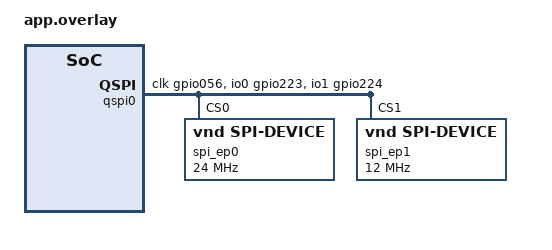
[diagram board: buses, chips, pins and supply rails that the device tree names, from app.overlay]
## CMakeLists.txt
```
# Copyright (c) 2025 Microchip Technology Inc.
#
# SPDX-License-Identifier: Apache-2.0
#
cmake_minimum_required(VERSION 3.20.0)

find_package(Zephyr REQUIRED HINTS $ENV{ZEPHYR_BASE})
project(mec_assy6941_qmspi_ldma)

FILE(GLOB app_sources src/*.c)
target_sources(app PRIVATE ${app_sources})
```

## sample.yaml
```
sample:
  description: mec_assy6941 QMSPI-LDMA testing
  name: mec_assy6941_qmspi_ldma test
tests:
  sample.board.mec_assy6941.qmspi_ldma:
    harness: spi
    platform_allow:
      - mec_assy6941/mec1743_qlj
      - mec_assy6941/mec1743_qsz
      - mec_assy6941/mec1753_qlj
      - mec_assy6941/mec1753_qsz
    tags: spi
    depends_on:
      - spi
      - gpio
```

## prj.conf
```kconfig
# Enable config log
CONFIG_LOG=y
CONFIG_LOG_BACKEND_UART=y

CONFIG_CONSOLE=y
CONFIG_UART_CONSOLE=y

CONFIG_SPI=y

CONFIG_PM=n
CONFIG_DEBUG=y
```

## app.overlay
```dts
/*
 * Copyright (c) 2025 Microchip Technology Inc.
 *
 * SPDX-License-Identifier: Apache-2.0
 */

#include <zephyr/dt-bindings/gpio/microchip-xec-gpio.h>

/ {
	zephyr,user {
		shd-spi-other-gpios = <MCHP_GPIO_DECODE_227 GPIO_ACTIVE_HIGH>,
				      <MCHP_GPIO_DECODE_016 GPIO_ACTIVE_HIGH>;
	};
};

/* The QSPI controller support 2 HW controlled chip selects.
 * DT parameters are:
 * 1. spi-cs-setup-delay-ns = delay after CS assertion to first clock (nanoseconds)
 * 2. spi-cs-hold-delay-ns = delay after last clock edge to CS de-assertion (nanoseconds)
 */
/*
&qspi0 {
	compatible = "microchip,mec5-qspi";
	status = "okay";

	pinctrl-0 = <&qspi_shd_cs0_n_gpio055
		     &qspi_shd_clk_gpio056
		     &qspi_shd_io0_gpio223
		     &qspi_shd_io1_gpio224>;
	pinctrl-names = "default";

	spi_ep0: spi_ep@0 {
		reg = <0>;
		spi-cs-setup-delay-ns = <80>;
		spi-cs-hold-delay-ns = <80>;
	};

	spi_ep1: spi_ep@1 {
		reg = <1>;
		spi-cs-setup-delay-ns = <160>;
		spi-cs-hold-delay-ns = <160>;
	};

	status = "okay";
};
*/

/* Use GPIO chip selects
 * delay in microseconds between:
 * 1. chip select assertion and first clock
 * 2. last clock edge and chip select de-assertion
 * DT macro SPI_CONTEXT_CS_GPIOS_INITIALIZE in spi_context.h detects cs-gpios property
 * exists  and fills in struct spi_context member cs (struct spi_cs_control) gpio which
 * is a struct gpio_dt_spec. This macro does not fill in the delay member.
 */
&qspi0 {
	compatible = "microchip,mec5-qspi";
	status = "okay";

	pinctrl-0 = <&qspi_shd_clk_gpio056
		     &qspi_shd_io0_gpio223
		     &qspi_shd_io1_gpio224>;
	pinctrl-names = "default";

	cs-gpios = <MCHP_GPIO_DECODE_055 GPIO_ACTIVE_LOW>,
		   <MCHP_GPIO_DECODE_002 GPIO_ACTIVE_LOW>;

	spi_ep0: spi_ep@0 {
		compatible = "vnd,spi-device";
		reg = <0>;
		spi-max-frequency = <DT_FREQ_M(24)>;
		spi-cs-setup-delay-ns = <1000>;
		spi-cs-hold-delay-ns = <1000>;
		status = "okay";
	};

	spi_ep1: spi_ep@1 {
		compatible = "vnd,spi-device";
		reg = <1>;
		spi-max-frequency = <DT_FREQ_M(12)>;
		spi-cs-setup-delay-ns = <2000>;
		spi-cs-hold-delay-ns = <2000>;
		status = "okay";
	};

	status = "okay";
};
```

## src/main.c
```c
/*
 * Copyright (c) 2025 Microchip Technology Inc.
 *
 * SPDX-License-Identifier: Apache-2.0
 */

#include <soc.h>
#include <stdio.h>
#include <string.h>
#include <zephyr/kernel.h>
#include <zephyr/device.h>
#include <zephyr/devicetree.h>
#include <zephyr/drivers/gpio.h>
#include <zephyr/drivers/spi.h>
#include <zephyr/logging/log_ctrl.h>
#include <zephyr/logging/log.h>
LOG_MODULE_REGISTER(app, CONFIG_LOG_DEFAULT_LEVEL);

#define W25Q128_JEDEC_ID				0x001840efU
#define W25Q128JV_JEDEC_ID				0x001870efU
#define SST26VF016B_JEDEC_ID				0x004126bfU
#define SPI_FLASH_JEDEC_ID_MSK				0x00ffffffu

#define SPI_FLASH_READ_JEDEC_ID_OPCODE			0x9fu

#define SPI_FLASH_READ_STATUS1_OPCODE			0x05u
#define SPI_FLASH_READ_STATUS2_OPCODE			0x35u
#define SPI_FLASH_READ_STATUS3_OPCODE			0x15u

#define SPI_FLASH_WRITE_STATUS1_OPCODE			0x01u
#define SPI_FLASH_WRITE_STATUS2_OPCODE			0x31u
#define SPI_FLASH_WRITE_STATUS3_OPCODE			0x11u

#define SPI_FLASH_WRITE_ENABLE_OPCODE			0x06u
#define SPI_FLASH_WRITE_DISABLE_OPCODE			0x04u
#define SPI_FLASH_WRITE_ENABLE_VOLATILE_STS_OPCODE	0x50u

#define SPI_FLASH_READ_SFDP_CMD				0x5au

#define SPI_FLASH_READ_SLOW_OPCODE			0x03u
#define SPI_FLASH_READ_FAST_OPCODE			0x0bu
#define SPI_FLASH_READ_DUAL_OPCODE			0x3bu
#define SPI_FLASH_READ_QUAD_OPCODE			0x6bu

#define SPI_FLASH_ERASE_SECTOR_OPCODE			0x20u
#define SPI_FLASH_ERASE_BLOCK1_OPCODE			0x52u
#define SPI_FLASH_ERASE_BLOCK2_OPCODE			0xd8u
#define SPI_FLASH_ERASE_CHIP_OPCODE			0xc7u

#define SPI_FLASH_PAGE_PROG_OPCODE			0x02u

#define SPI_FLASH_PAGE_SIZE				256
#define SPI_FLASH_SECTOR_SIZE				4096
#define SPI_FLASH_BLOCK1_SIZE				(32 * 1024)
#define SPI_FLASH_BLOCK2_SIZE				(64 * 1024)

#define SPI_FLASH_STATUS1_BUSY_POS			0
#define SPI_FLASH_STATUS1_WEL_POS			1

#define SPI_FLASH_STATUS2_SRL_POS			0
#define SPI_FLASH_STATUS2_QE_POS			1
#define SPI_FLASH_STATUS2_SUS_STS_POS			7

#define SPI_CTRL0_NODE					DT_NODELABEL(qspi0)
#define ZEPHYR_USER_NODE				DT_PATH(zephyr_user)

struct spi_address {
	uint32_t addr;
	uint8_t byte_len;
};

enum spi_flash_read_cmd {
	CMD_SPI_FLASH_READ_SLOW = 0,
	CMD_SPI_FLASH_READ_FAST,
	CMD_SPI_FLASH_READ_DUAL,
	CMD_SPI_FLASH_READ_QUAD,
	CMD_SPI_FLASH_READ_MAX
};

const struct gpio_dt_spec qspi_shd_nwp_dt =
	GPIO_DT_SPEC_GET_BY_IDX(ZEPHYR_USER_NODE, shd_spi_other_gpios, 0);

const struct gpio_dt_spec qspi_shd_nhold_dt =
	GPIO_DT_SPEC_GET_BY_IDX(ZEPHYR_USER_NODE, shd_spi_other_gpios, 1);

static const struct device *spi_ctrl_dev = DEVICE_DT_GET(SPI_CTRL0_NODE);

/* SPI endpoint devices on SPI_CTRL0_NODE */
#define SPI_CTRL_MODE (SPI_OP_MODE_MASTER | SPI_WORD_SET(8))

#define SPI_EP_M1(node_id) \
	SPI_DT_SPEC_GET(node_id, SPI_CTRL_MODE)

static const struct spi_dt_spec spi_ep_dt_specs[] = {
	DT_FOREACH_CHILD_STATUS_OKAY_SEP(SPI_CTRL0_NODE, SPI_EP_M1, (,))
};

#define SPI_TEST_BUF1_SIZE 256

static uint8_t buf1[SPI_TEST_BUF1_SIZE];

#define SPI_TEST_ADDR1 0xc10000u

#define SPI_FILL_VAL 0x69u
#define SPI_TEST_BUFFER_SIZE (36 * 1024)

struct test_buf {
	union {
		uint32_t w[(SPI_TEST_BUFFER_SIZE) / 4];
		uint16_t h[(SPI_TEST_BUFFER_SIZE) / 2];
		uint8_t b[(SPI_TEST_BUFFER_SIZE)];
	};
};

static struct test_buf tb1;

static void pr_spi_dt_spec(const struct spi_dt_spec *dts)
{
	uint32_t temp = 0;

	LOG_INF("struct spi_dt_spec pointer = %p", dts);

	if (dts == NULL) {
		LOG_ERR("struct spi_dt_spec pointer is NULL");
	}

	LOG_INF(".bus = %p", dts->bus);
	LOG_INF(".config is struct spi_config");
	LOG_INF("  .frequency = %u", dts->config.frequency);
	LOG_INF("  .operation = 0x%0x", dts->config.operation);
	if ((dts->config.operation & SPI_OP_MODE_SLAVE) == 0) {
		LOG_INF("    Controller is Host");
	} else {
		LOG_INF("    Controller is Target");
	}
	if ((dts->config.operation & SPI_MODE_CPOL) == 0) {
		LOG_INF("    Clock idle is Low");
	} else {
		LOG_INF("    Clock idle is High");
	}
	if ((dts->config.operation & SPI_MODE_CPHA) == 0) {
		LOG_INF("    Data captured on clock idle to active edge");
	} else {
		LOG_INF("    Data captured on clock active to idle edge");
	}
	if ((dts->config.operation & SPI_MODE_LOOP) != 0) {
		LOG_ERR("    SPI_MODE_LOOP flag is set. HW does not support this!");
	}
	if ((dts->config.operation & SPI_TRANSFER_LSB) == 0) {
		LOG_INF("    Request bit order is MSB");
	} else {
		LOG_ERR("    Request bit order is LSB. HW does not support LSB!");
	}

	temp = SPI_WORD_SIZE_GET(dts->config.operation);
	LOG_INF("    Word size = %u bits", temp);
	if (temp != 8u) {
		LOG_ERR("    Requested word size not allowed. HW supports byte (8-bit) only");
	}

	if ((dts->config.operation & SPI_HOLD_ON_CS) != 0) {
		LOG_INF("    Request hold CS active at end of transfer");
	}

	if ((dts->config.operation & SPI_LOCK_ON) != 0) {
		LOG_INF("    App requests driver lock SPI until app releases it");
	}

	if ((dts->config.operation & SPI_CS_ACTIVE_HIGH) != 0) {
		LOG_INF("    Request CS active High. Not support by Controller HW. Must use GPIO for CS!");
	}

	LOG_INF("  .cs.cs_is_gpio = %u", dts->config.cs.cs_is_gpio);
	if (dts->config.cs.cs_is_gpio == true) {
		LOG_INF("    .gpio.port = %p", dts->config.cs.gpio.port);
		LOG_INF("    .gpio.pin = %u", dts->config.cs.gpio.pin);
		LOG_INF("    .gpio.dt_flags = %u", dts->config.cs.gpio.dt_flags);
		LOG_INF("    .delay = %u", dts->config.cs.delay);
	} else {
		LOG_INF("    .setup_ns = %u", dts->config.cs.setup_ns);
		LOG_INF("    .hold_ns  = %u", dts->config.cs.setup_ns);
	}
	LOG_INF("  word_delay = %u", dts->config.word_delay);
}

static bool is_data_buf_filled_with(uint8_t *data, size_t datasz, uint8_t val)
{
	if (!data || !datasz) {
		return false;
	}

	for (size_t i = 0; i < datasz; i++) {
		if (data[i] != val) {
			return false;
		}
	}

	return true;
}

static int spi_flash_format_addr(uint32_t spi_addr, size_t addrsz, uint8_t *buf, size_t bufsz)
{
	if (!buf || (addrsz > 4) || (bufsz < addrsz)) {
		return -EINVAL;
	}

	for (size_t i = 0; i < addrsz; i++) {
		buf[i] = spi_addr >> ((addrsz - i - 1u) * 8);
	}

	return 0;
}

static int spi_flash_read_status(const struct spi_dt_spec *dts, uint8_t read_status_opcode,
                                 uint8_t *status)
{
	struct spi_buf spi_buffers[2];
	uint32_t cmdbuf;
	int err;

	if (!dts || !status) {
		return -EINVAL;
	}

	cmdbuf = read_status_opcode;
	spi_buffers[0].buf = &cmdbuf;
	spi_buffers[0].len = 1;
	spi_buffers[1].buf = status;
	spi_buffers[1].len = 1;

	const struct spi_buf_set tx_bufs = {
		.buffers = spi_buffers,
		.count = 2,
	};

	const struct spi_buf_set rx_bufs = {
		.buffers = spi_buffers,
		.count = 2,
	};

	err = spi_transceive_dt(dts, &tx_bufs, &rx_bufs);

	return err;
}

static int spi_poll_busy(const struct spi_dt_spec *dts, uint32_t timeout_ms)
{
	int err = 0;
	uint32_t ms = 0;
	uint8_t spi_status = 0;

	if (dts == NULL) {
		return -EINVAL;
	}

	spi_status = 0xffu;
	while (timeout_ms) {
		k_busy_wait(2);
		ms += 2u;
		spi_status = 0xffu;
		err = spi_flash_read_status(dts, SPI_FLASH_READ_STATUS1_OPCODE, &spi_status);
		if (err) {
			return err;
		}

		if ((spi_status & BIT(SPI_FLASH_STATUS1_BUSY_POS)) == 0) {
			return 0;
		}
		if (ms > 1000) {
			timeout_ms--;
		}
	}

	return -ETIMEDOUT;
}

/* SPI flash full-duplex write of command opcode, optional command parameters, and optional data */
static int spi_flash_fd_wr_cpd(const struct spi_dt_spec *dts, uint8_t cmd, uint8_t *cmdparams,
                               size_t cmdparamsz, uint8_t *data, size_t datasz)
{
	struct spi_buf tx_spi_buffers[3];
	int bufidx = 0, err = 0;
	uint8_t spicmd;

	if ((dts == NULL) || ((cmdparams == NULL) && (cmdparamsz != 0)) ||
	    ((data == NULL) && (datasz != 0))) {
		return -EINVAL;
	}

	spicmd = cmd;
	tx_spi_buffers[bufidx].buf = &spicmd;
	tx_spi_buffers[bufidx++].len = 1;
	if (cmdparams && cmdparamsz) {
		tx_spi_buffers[bufidx].buf = cmdparams;
		tx_spi_buffers[bufidx++].len = cmdparamsz;
	}

	if (data && datasz) {
		tx_spi_buffers[bufidx].buf = data;
		tx_spi_buffers[bufidx++].len = datasz;
	}

	const struct spi_buf_set tx_bufs = {
		.buffers = tx_spi_buffers,
		.count = bufidx,
	};

	err = spi_transceive_dt(dts, &tx_bufs, NULL);

	return err;
}

static int spi_flash_read_fd_sync(const struct spi_dt_spec *dts, struct spi_address *spi_addr,
				  uint8_t *data, size_t datasz, uint8_t opcode)
{
	uint8_t txdata[8] = {0};
	struct spi_buf spi_bufs[3] = {0};
	int cnt = 0, err = 0;
	size_t param_len = 0;

	if (!dts || !data || !datasz) {
		return -EINVAL;
	}

	txdata[0] = opcode;
	if (spi_addr != 0) {
		if (spi_addr->byte_len > 4) {
			return -EINVAL;
		}
		err = spi_flash_format_addr(spi_addr->addr, spi_addr->byte_len,
					    &txdata[1], sizeof(txdata)-1);
		if (err) {
			return err;
		}
		param_len += spi_addr->byte_len;
	}

	spi_bufs[cnt].buf = txdata;
	spi_bufs[cnt++].len = param_len + 1;

	if (opcode == SPI_FLASH_READ_FAST_OPCODE) {
		spi_bufs[cnt].buf = NULL; /* 8 clocks with output tri-stated */
		spi_bufs[cnt++].len = 1;
	}

	spi_bufs[cnt].buf = data;
	spi_bufs[cnt++].len = datasz;

	const struct spi_buf_set txset = {
		.buffers = &spi_bufs[0],
		.count = cnt,
	};
	const struct spi_buf_set rxset = {
		.buffers = &spi_bufs[0],
		.count = cnt,
	};

	err = spi_transceive_dt(dts, &txset, &rxset);
	if (err) {
		return err;
	}

	return 0;
}

static int spi_flash_erase_region(const struct spi_dt_spec *dts, uint8_t erase_opcode,
                                  struct spi_address *spi_addr, int timeout_ms)
{
	int err = 0;
	uint8_t cmdparams[4] = {0};

	if ((dts == NULL) || (spi_addr == NULL)) {
		return -EINVAL;
	}

	err = spi_flash_format_addr(spi_addr->addr, spi_addr->byte_len,
				    cmdparams, sizeof(cmdparams));
	if (err) {
		return err;
	}

	err = spi_flash_fd_wr_cpd(dts, erase_opcode, cmdparams,
				  spi_addr->byte_len, NULL, 0);
	if (err) {
		return err;
	}

	err = spi_poll_busy(dts, timeout_ms);

	return err;
}

static int read_jedec_id(const struct spi_dt_spec *dts, uint32_t *jid)
{
	int err = 0, ret = 0;
	uint32_t val = 0;

	if ((dts == NULL) || (jid == NULL)) {
		return -EINVAL;
	}

	val = 0;
	err = spi_flash_read_fd_sync(dts, NULL, (uint8_t *)&val, 3u,
				     SPI_FLASH_READ_JEDEC_ID_OPCODE);
	if (err != 0) {
		LOG_ERR("Read JEDEC_ID error (%d)", err);
		return err;
	}

	if (jid != NULL) {
		*jid = val;
	}

	LOG_INF("JEDEC ID = 0x%08x", val);

	if (val == W25Q128_JEDEC_ID) {
		LOG_INF("W25Q128 16Mbyte SPI flash");
	} else if (val == W25Q128JV_JEDEC_ID) {
		LOG_INF("W25Q128JV 16Mbyte SPI flash");
	} else if (val == SST26VF016B_JEDEC_ID) {
		LOG_INF("SST26VF016B 16MByte SPI flash");
	} else {
		LOG_INF("Unknown SPI flash device");
		ret = -ENODEV;
	}

	return ret;
}

int main(void)
{
	int err, num_sectors, num_pages, offset;
	uint32_t jedec_id, qe_bm;
	size_t n, spi_len;
	struct spi_address spi_addr;
	uint8_t spi_status1, spi_status2;

	memset(buf1, 0, sizeof(buf1));
	memset((void *)&tb1, 0x55, sizeof(tb1));

	LOG_INF("Size of struct spi_config is %u bytes", sizeof(struct spi_config));

	if (device_is_ready(spi_ctrl_dev) == false) {
		LOG_ERR("SPI Controller driver is not ready!\n");
		return -1;
	}

	err = gpio_pin_configure_dt(&qspi_shd_nwp_dt, GPIO_OUTPUT_HIGH);
	if (err != 0) {
		LOG_ERR("Configure QSPI nWP pin GPIO output drive high error (%d)", err);
		return -2;
	}

	err = gpio_pin_configure_dt(&qspi_shd_nhold_dt, GPIO_OUTPUT_HIGH);
	if (err != 0) {
		LOG_ERR("Configure QSPI nHOLD pin GPIO output drive high error (%d)", err);
		return -3;
	}

	qe_bm = 0;
	for (n = 0; n < ARRAY_SIZE(spi_ep_dt_specs); n++) {
		const struct spi_dt_spec *pdts = &spi_ep_dt_specs[n];

		pr_spi_dt_spec(pdts);

		LOG_INF("Read JEDEC ID, STATUS1, and STATUS2 from SPI endpoint %u", n);

		log_flush();

		jedec_id = 0x55555555u;
		err = read_jedec_id(pdts, &jedec_id);
		if (err != 0) {
			LOG_ERR("JEDEC ID read error (%d)", err);
		}

		log_flush();

		spi_status1 = 0xffu;
		err = spi_flash_read_status(pdts, SPI_FLASH_READ_STATUS1_OPCODE, &spi_status1);
		if (err != 0) {
			LOG_ERR("Read SPI flash Status1 error (%d)", err);
		}

		LOG_INF("SPI Flash Status1 = 0x%02x", spi_status1);

		spi_status2 = 0xffu;
		err = spi_flash_read_status(pdts, SPI_FLASH_READ_STATUS2_OPCODE, &spi_status2);
		if (err != 0) {
			LOG_ERR("Read SPI flash STATUS2 error (%d)", err);
		}

		LOG_INF("SPI Flash Status2 = 0x%02x", spi_status2);
		if ((spi_status2 & BIT(SPI_FLASH_STATUS2_QE_POS)) != 0) {
			qe_bm |= BIT(n);
			LOG_INF("Quad-Enable bit is set. WP# and HOLD# are IO[2] and IO[3]");
		}
		if ((spi_status2 & BIT(SPI_FLASH_STATUS2_SRL_POS)) != 0) {
			LOG_INF("SPI Flash Status registers are locked!");
		}
		if ((spi_status2 & BIT(SPI_FLASH_STATUS2_SUS_STS_POS)) != 0) {
			LOG_INF("SPI Flash is in Suspend state");
		}

		spi_addr.addr = SPI_TEST_ADDR1;
		spi_addr.byte_len = 3u;
		num_sectors = 1u;

		if (SPI_TEST_BUFFER_SIZE > SPI_FLASH_SECTOR_SIZE) {
			num_sectors = SPI_TEST_BUFFER_SIZE / SPI_FLASH_SECTOR_SIZE;
		}

		LOG_INF("Exercising %u sectors", num_sectors);

		LOG_INF("Erase sectors: Send SPI flash Write-Enable and Erase commands");

		log_flush();

		for (int i = 0; i < num_sectors; i++) {
			err = spi_flash_fd_wr_cpd(pdts, SPI_FLASH_WRITE_ENABLE_OPCODE,
						  NULL, 0, NULL, 0);
			if (err != 0) {
				LOG_ERR("ERROR: SPI flash Write-Enable: error (%d)", err);
			}

			err = spi_flash_erase_region(pdts, SPI_FLASH_ERASE_SECTOR_OPCODE,
						     &spi_addr, 1000u);
			if (err != 0) {
				LOG_ERR("SPI flash Erase sector error (%d)", err);
			}

			spi_addr.addr += SPI_FLASH_SECTOR_SIZE;
		}

		log_flush();

		LOG_INF("Read and check erased sectors using Read 1-1-1-0");

		spi_addr.addr = SPI_TEST_ADDR1;
		spi_addr.byte_len = 3u;

		for (int i = 0; i < num_sectors; i++) {
			memset(&tb1.b[0], 0x55, SPI_FLASH_SECTOR_SIZE);

			err = spi_flash_read_fd_sync(pdts, &spi_addr, &tb1.b[0],
						     SPI_FLASH_SECTOR_SIZE,
						     SPI_FLASH_READ_SLOW_OPCODE);
			if (err != 0) {
				LOG_ERR("Read slow error (%d)", err);
			}

			if (is_data_buf_filled_with(&tb1.b[0], SPI_FLASH_SECTOR_SIZE, 0xffu)) {
				LOG_INF("Sector at 0x%08x is erased", spi_addr.addr);
			} else {
				LOG_ERR("FAIL: sector at 0x%08x is not erased", spi_addr.addr);
			}

			spi_addr.addr += SPI_FLASH_SECTOR_SIZE;
		}

		log_flush();

		LOG_INF("Fill buffers for %d sectors", num_sectors);
		for (int i = 0; i < SPI_TEST_BUFFER_SIZE; i++) {
			tb1.b[i] = SPI_FILL_VAL;
		}

		LOG_INF("Program erased sectors");

		num_pages = SPI_TEST_BUFFER_SIZE / SPI_FLASH_PAGE_SIZE;
		offset = 0;

		spi_addr.addr = SPI_TEST_ADDR1;
		spi_addr.byte_len = 3u;

		for (int i = 0; i < num_pages; i++) {
			err = spi_flash_format_addr(spi_addr.addr, spi_addr.byte_len,
			                            buf1, sizeof(buf1));
			if (err != 0) {
				LOG_ERR("ERROR: format SPI address: (%d)", err);
			}

			err = spi_flash_fd_wr_cpd(pdts, SPI_FLASH_WRITE_ENABLE_OPCODE,
						  NULL, 0, NULL, 0);
			if (err != 0) {
				LOG_ERR("ERROR: transmit SPI flash Write-Enable: (%d)", err);
			}

			err = spi_flash_fd_wr_cpd(pdts, SPI_FLASH_PAGE_PROG_OPCODE,
						  buf1, spi_addr.byte_len, &tb1.b[offset],
						  SPI_FLASH_PAGE_SIZE);
			if (err != 0) {
				LOG_ERR("ERROR: transmit SPI Page-Program: (%d)", err);
			}

			err = spi_poll_busy(pdts, 100);
			if (err != 0) {
				LOG_ERR("ERROR: Poll SPI busy status: (%d)", err);
				return err;
			}

			spi_addr.addr += SPI_FLASH_PAGE_SIZE;
			offset += SPI_FLASH_PAGE_SIZE;
		}

		log_flush();

		LOG_INF("Read sectors and check data");

		memset(&tb1.b[0], 0, sizeof(tb1));

		spi_addr.addr = SPI_TEST_ADDR1;
		spi_addr.byte_len = 3u;
		spi_len = num_pages * SPI_FLASH_PAGE_SIZE;

		LOG_INF("Read %u bytes from 0x%08x using SPI Read 1-1-1-0", spi_len,
		        spi_addr.addr);

		err = spi_flash_read_fd_sync(pdts, &spi_addr, &tb1.b[0], spi_len,
					     SPI_FLASH_READ_SLOW_OPCODE);
		if (err != 0) {
			LOG_ERR("Read slow error (%d)", err);
		}

		if (is_data_buf_filled_with(&tb1.b[0], spi_len, SPI_FILL_VAL)) {
			LOG_INF("PASS: Data matches");
		} else {
			LOG_ERR("FAIL: Data mismatch");
		}

		memset(&tb1.b[0], 0, sizeof(tb1));

		LOG_INF("Read %u bytes from 0x%08x using SPI Read 1-1-1-8", spi_len,
		        spi_addr.addr);

		err = spi_flash_read_fd_sync(pdts, &spi_addr, &tb1.b[0], spi_len,
					     SPI_FLASH_READ_FAST_OPCODE);
		if (err != 0) {
			LOG_ERR("Read fast error (%d)", err);
		}

		if (is_data_buf_filled_with(&tb1.b[0], spi_len, SPI_FILL_VAL)) {
			LOG_INF("PASS: Data matches");
		} else {
			LOG_ERR("FAIL: Data mismatch");
		}

		log_flush();
	}

	LOG_INF("Program End");

	return 0;
}
```
